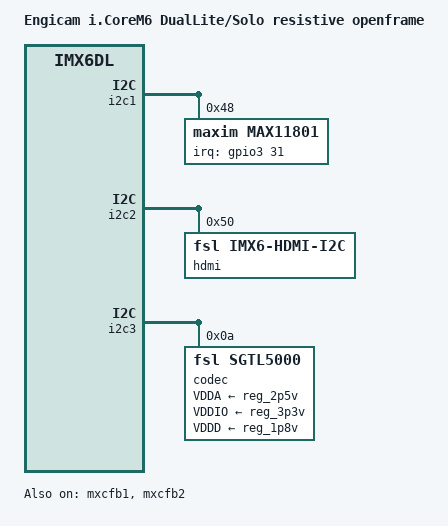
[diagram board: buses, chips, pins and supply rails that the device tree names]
/*
 * Copyright (C) 2013 Freescale Semiconductor, Inc.
 *
 * This program is free software; you can redistribute it and/or modify
 * it under the terms of the GNU General Public License version 2 as
 * published by the Free Software Foundation.
 */

/dts-v1/;
#include <dt-bindings/gpio/gpio.h>
#include "imx6dl.dtsi"
#include "imx6qdl-icore.dtsi"

/ {
	model = "Engicam i.CoreM6 DualLite/Solo resistive openframe";
	compatible = "fsl,imx6-icore", "fsl,imx6dl";
};

&ldb {
	ipu_id = <0>;
	sec_ipu_id = <0>;
};

&mxcfb1 {
	status = "okay";
};

&mxcfb2 {
	status = "okay";
};

/* To be enabled for PCI peripheral.
   Please enable also the PCI support kernel options:
   CONFIG_PCI and PCI_IMX6
&pcie {
	status = "okay";
};
*/

&i2c1 {

	max11801@48 {
		compatible = "maxim,max11801";
		reg = <0x48>;
		interrupt-parent = <&gpio3>;
		interrupts = <31 2>;
		work-mode = <0>;/*DCM mode*/
	};

};

&i2c2 {

	hdmi: edid@50 {
		compatible = "fsl,imx6-hdmi-i2c";
		reg = <0x50>;
	};

};


&i2c3 {

	codec: sgtl5000@0a {
		compatible = "fsl,sgtl5000";
		reg = <0x0a>;
		clocks = <&clks 201>;
		VDDA-supply = <&reg_2p5v>;
		VDDIO-supply = <&reg_3p3v>;
		VDDD-supply = <&reg_1p8v>;
	};
};

&iomuxc {
	pinctrl-names = "default";
	pinctrl-0 = <&pinctrl_lvds>;
	lvdsreset-delay = <30>;
	lvdsreset-pin = <&gpio6 0 GPIO_ACTIVE_LOW>;
	lvds {
		pinctrl_lvds: lvdsgrp {
			fsl,pins = <
				MX6QDL_PAD_CSI0_DAT14__GPIO6_IO00 0x1f059 // LVDS reset
			>;
		};
	};
};

&iomuxc {
	pinctrl-names = "default";
	pinctrl-0 = <&pinctrl_hog1>;
	pinctrl-assert-gpios = <&gpio1 2 GPIO_ACTIVE_HIGH>;
	
	hog {
		pinctrl_hog1: hoggrp {
			fsl,pins = <
				MX6QDL_PAD_GPIO_2__GPIO1_IO02 0x1f059
				MX6QDL_PAD_EIM_D19__GPIO3_IO19 0x1f059 /* not used pin for ADV7180 driver compatibility */
			>;
		};
	};
};

&iomuxc {

	pinctrl-names = "default";
	pinctrl-0 = <&pinctrl_hog2>;

	pinctrl-assert-gpios = <&gpio1 2 GPIO_ACTIVE_HIGH>;
	
	hog {
		pinctrl_hog2: hoggrp {
			fsl,pins = <
				MX6QDL_PAD_CSI0_MCLK__GPIO5_IO19 0x1f059
				MX6QDL_PAD_CSI0_PIXCLK__GPIO5_IO18 0x1f059
				MX6QDL_PAD_CSI0_VSYNC__GPIO5_IO21 0x1f059
				MX6QDL_PAD_CSI0_DAT19__GPIO6_IO05 0x1f059
				MX6QDL_PAD_GPIO_2__GPIO1_IO02 0x1f059
			>;
		};
	};
};

